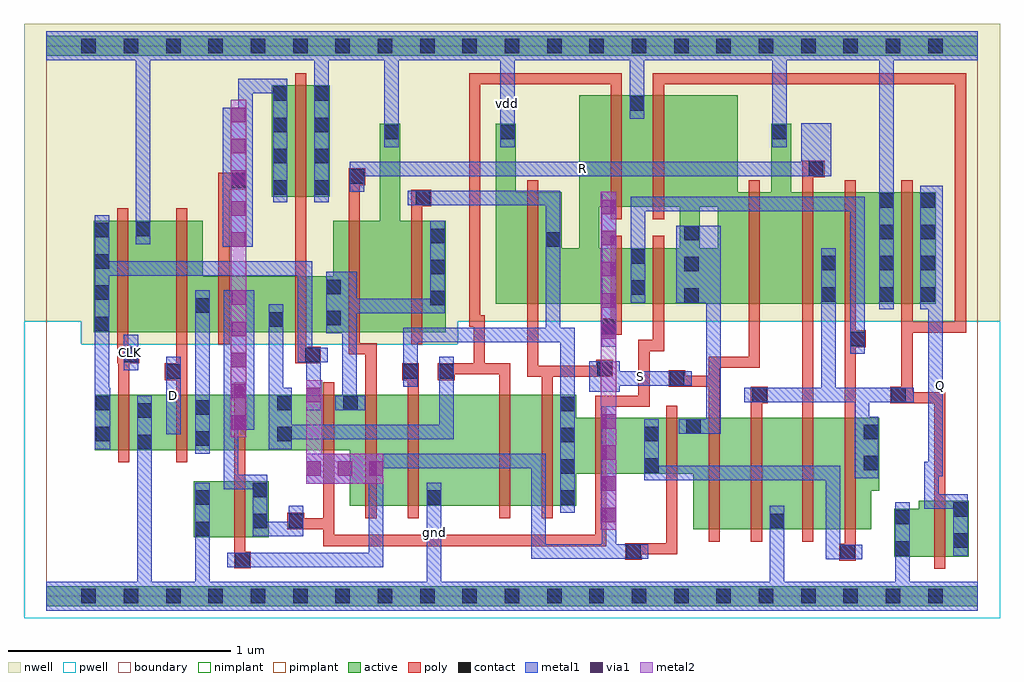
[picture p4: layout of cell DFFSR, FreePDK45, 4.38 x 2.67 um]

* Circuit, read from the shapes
.subckt DFFSR CLK D Q R S gnd vdd
M1 gnd CLK n1 gnd nfet w=0.25u l=0.05u
M2 n2 D gnd gnd nfet w=0.25u l=0.05u
M3 n3 n1 gnd gnd nfet w=0.25u l=0.05u
M4 n4 n1 n2 gnd nfet w=0.25u l=0.05u
M5 n5 n3 n4 gnd nfet w=0.25u l=0.05u
M6 n6 R n5 gnd nfet w=0.5u l=0.05u
M7 gnd n7 n6 gnd nfet w=0.5u l=0.05u
M8 n8 n4 gnd gnd nfet w=0.5u l=0.05u
M9 n7 S n8 gnd nfet w=0.5u l=0.05u
M10 n9 n3 n7 gnd nfet w=0.25u l=0.05u
M11 n10 n1 n9 gnd nfet w=0.25u l=0.05u
M12 n11 S n10 gnd nfet w=0.5u l=0.05u
M13 gnd n12 n11 gnd nfet w=0.5u l=0.05u
M14 n13 R gnd gnd nfet w=0.5u l=0.05u
M15 n12 n9 n13 gnd nfet w=0.5u l=0.05u
M16 Q n12 gnd gnd nfet w=0.25u l=0.05u
M17 vdd CLK n1 vdd pfet w=0.5u l=0.05u
M18 n2 D vdd vdd pfet w=0.5u l=0.05u
M19 n4 n3 n2 vdd pfet w=0.25u l=0.05u
M20 n5 n1 n4 vdd pfet w=0.25u l=0.05u
M21 vdd n1 n3 vdd pfet w=0.5u l=0.05u
M22 vdd R n5 vdd pfet w=0.5u l=0.05u
M23 n5 n7 vdd vdd pfet w=0.5u l=0.05u
M24 n7 S vdd vdd pfet w=0.5u l=0.05u
M25 n9 n1 n7 vdd pfet w=0.25u l=0.05u
M26 vdd n4 n7 vdd pfet w=0.5u l=0.05u
M27 n10 n3 n9 vdd pfet w=0.25u l=0.05u
M28 n10 n12 vdd vdd pfet w=0.5u l=0.05u
M29 vdd S n10 vdd pfet w=0.5u l=0.05u
M30 n12 R vdd vdd pfet w=0.5u l=0.05u
M31 vdd n9 n12 vdd pfet w=0.5u l=0.05u
M32 Q n12 vdd vdd pfet w=0.5u l=0.05u
.ends

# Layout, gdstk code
import gdstk
lib = gdstk.Library(unit=1e-6, precision=5e-10)
def R(c, l, rs):  # rectangles x0, y0, x1, y1
    for r in rs: c.add(gdstk.rectangle(r[:2], r[2:], *l))
def A(c, l, x, y, w, h, nx, ny, dx, dy):  # array of equal rectangles
    R(c, l, [(x+i*dx, y+j*dy, x+i*dx+w, y+j*dy+h) for i in range(nx) for j in range(ny)])
def P(c, l, *ps):  # polygons
    for p in ps: c.add(gdstk.Polygon(p, *l))
active = (1, 0)
pwell = (2, 0)
nwell = (3, 0)
nimplant = (4, 0)
pimplant = (5, 0)
poly = (9, 0)
contact = (10, 0)
metal1 = (11, 0)
via1 = (12, 0)
metal2 = (13, 0)
boundary = (235, 0)

dffsr = lib.new_cell('DFFSR')
A(dffsr, active, 0.3225, 0.655, 0.05, 0.25, 3, 1, 0.26, 0)
R(dffsr, active, [(0,-0.045,4.18,0.045), (3.985,0.1775,4.035,0.4275), (4.035,0.1775,4.14,0.4275), (0.6625,0.265,0.8425,0.515), (0.8425,0.265,0.8925,0.515), (0.8925,0.265,0.9975,0.515), (2.9725,0.3,3.0225,0.8), (3.0225,0.3,3.1625,0.8), (3.1625,0.3,3.2125,0.8), (3.2125,0.3,3.3925,0.8), (3.3925,0.3,3.4425,0.8), (3.4425,0.3,3.5825,0.8), (3.5825,0.3,3.6325,0.8), (1.4325,0.405,1.4825,0.905), (1.4825,0.405,1.6225,0.905), (1.6225,0.405,1.6725,0.905), (1.6725,0.405,2.0325,0.905), (2.0325,0.405,2.0825,0.905), (2.0825,0.405,2.2225,0.905), (2.2225,0.405,2.2725,0.905), (2.4625,0.55,2.5125,0.8), (2.5125,0.55,2.7825,0.8), (2.7825,0.55,2.8325,0.8), (0.2175,0.655,0.3225,0.905), (0.3725,0.655,0.5825,0.905), (0.6325,0.655,0.8425,0.905), (0.8925,0.655,1.2425,0.905), (1.2425,0.655,1.2925,0.905), (0.2125,1.185,0.3175,1.685), (0.3175,1.185,0.3675,1.685), (0.3675,1.185,0.5825,1.685), (0.5825,1.185,0.6325,1.685), (0.7725,1.185,0.8225,1.435), (0.8225,1.185,1.1175,1.435), (1.1175,1.185,1.1675,1.435), (1.3575,1.185,1.4075,1.685), (1.6375,1.185,1.6875,1.685), (1.6875,1.185,1.7925,1.685), (2.1575,1.3125,2.2075,1.8125), (2.5325,1.3125,2.5825,1.5625), (2.5825,1.3125,2.7225,1.5625), (2.7225,1.3125,2.7725,1.5625), (3.1525,1.3125,3.2025,1.8125), (3.3925,1.3125,3.4425,1.8125), (3.4425,1.3125,3.5825,1.8125), (3.5825,1.3125,3.6325,1.8125), (3.6325,1.3125,3.8375,1.8125), (3.8375,1.3125,3.8875,1.8125), (3.8875,1.3125,3.9925,1.8125), (2.5325,1.7475,2.5825,2.2475), (2.5825,1.7475,2.7225,2.2475), (2.7225,1.7475,2.7725,2.2475), (1.0125,1.7925,1.1175,2.2925), (1.1175,1.7925,1.1675,2.2925), (1.1675,1.7925,1.2725,2.2925), (0,2.425,4.18,2.515)])
P(dffsr, active, [(3.2025,1.3125),(3.2025,1.8125),(3.2525,1.8125),(3.2525,2.12),(3.3425,2.12),(3.3425,1.8125),(3.3925,1.8125),(3.3925,1.3125)],
  [(3.0125,1.3125),(2.7725,1.3125),(2.7725,1.5625),(2.8425,1.5625),(2.8425,1.7475),(2.7725,1.7475),(2.7725,2.2475),(3.1025,2.2475),(3.1025,1.8125),(3.1525,1.8125),(3.1525,1.3125),(3.0125,1.3125),(3.0125,1.7475),(2.9325,1.7475),(2.9325,1.5625),(3.0125,1.5625)],
  [(2.1075,2.12),(2.1075,1.8125),(2.1575,1.8125),(2.1575,1.3125),(2.0175,1.3125),(2.0175,2.12)],
  [(2.3125,1.5625),(2.3925,1.5625),(2.3925,2.2475),(2.5325,2.2475),(2.5325,1.7475),(2.4825,1.7475),(2.4825,1.5625),(2.5325,1.5625),(2.5325,1.3125),(2.2075,1.3125),(2.2075,1.8125),(2.3125,1.8125)],
  [(1.4075,1.185),(1.4075,1.685),(1.4975,1.685),(1.4975,2.12),(1.5875,2.12),(1.5875,1.685),(1.6375,1.685),(1.6375,1.185)],
  [(1.2875,1.435),(1.2875,1.685),(1.3575,1.685),(1.3575,1.185),(1.1675,1.185),(1.1675,1.435)],
  [(0.7025,1.685),(0.7025,1.435),(0.7725,1.435),(0.7725,1.185),(0.6325,1.185),(0.6325,1.685)],
  [(3.805,0.1775),(3.805,0.3925),(3.915,0.3925),(3.915,0.4275),(3.985,0.4275),(3.985,0.1775)],
  [(3.7375,0.8),(3.7375,0.4725),(3.7025,0.4725),(3.7025,0.3),(3.6325,0.3),(3.6325,0.8)],
  [(2.9725,0.8),(2.9725,0.3),(2.9025,0.3),(2.9025,0.55),(2.8325,0.55),(2.8325,0.8)],
  [(2.3775,0.8),(2.4625,0.8),(2.4625,0.55),(2.3775,0.55),(2.3775,0.405),(2.2725,0.405),(2.2725,0.905),(2.3775,0.905)],
  [(1.4325,0.905),(1.4325,0.405),(1.3625,0.405),(1.3625,0.655),(1.2925,0.655),(1.2925,0.905)])
P(dffsr, pwell, [(-0.1,1.235),(0.1575,1.235),(0.1575,1.13),(1.8475,1.13),(1.8475,1.235),(4.28,1.235),(4.28,-0.1),(-0.1,-0.1)])
P(dffsr, nwell, [(0.1575,1.235),(-0.1,1.235),(-0.1,2.57),(4.28,2.57),(4.28,1.235),(1.8475,1.235),(1.8475,1.13),(0.1575,1.13)])
A(dffsr, nimplant, 0.3225, 0.655, 0.05, 0.25, 3, 1, 0.26, 0)
R(dffsr, nimplant, [(3.985,0.1775,4.035,0.4275), (4.035,0.1775,4.14,0.4275), (0.6625,0.265,0.8425,0.515), (0.8425,0.265,0.8925,0.515), (0.8925,0.265,0.9975,0.515), (2.9725,0.3,3.0225,0.8), (3.0225,0.3,3.1625,0.8), (3.1625,0.3,3.2125,0.8), (3.2125,0.3,3.3925,0.8), (3.3925,0.3,3.4425,0.8), (3.4425,0.3,3.5825,0.8), (3.5825,0.3,3.6325,0.8), (1.4325,0.405,1.4825,0.905), (1.4825,0.405,1.6225,0.905), (1.6225,0.405,1.6725,0.905), (1.6725,0.405,2.0325,0.905), (2.0325,0.405,2.0825,0.905), (2.0825,0.405,2.2225,0.905), (2.2225,0.405,2.2725,0.905), (2.4625,0.55,2.5125,0.8), (2.5125,0.55,2.7825,0.8), (2.7825,0.55,2.8325,0.8), (0.2175,0.655,0.3225,0.905), (0.3725,0.655,0.5825,0.905), (0.6325,0.655,0.8425,0.905), (0.8925,0.655,1.2425,0.905), (1.2425,0.655,1.2925,0.905), (0,2.425,4.18,2.515)])
P(dffsr, nimplant, [(3.805,0.1775),(3.805,0.3925),(3.915,0.3925),(3.915,0.4275),(3.985,0.4275),(3.985,0.1775)],
  [(3.7375,0.8),(3.7375,0.4725),(3.7025,0.4725),(3.7025,0.3),(3.6325,0.3),(3.6325,0.8)],
  [(2.9725,0.8),(2.9725,0.3),(2.9025,0.3),(2.9025,0.55),(2.8325,0.55),(2.8325,0.8)],
  [(2.3775,0.8),(2.4625,0.8),(2.4625,0.55),(2.3775,0.55),(2.3775,0.405),(2.2725,0.405),(2.2725,0.905),(2.3775,0.905)],
  [(1.4325,0.905),(1.4325,0.405),(1.3625,0.405),(1.3625,0.655),(1.2925,0.655),(1.2925,0.905)])
R(dffsr, pimplant, [(0,-0.045,4.18,0.045), (0.2125,1.185,0.3175,1.685), (0.3175,1.185,0.3675,1.685), (0.3675,1.185,0.5825,1.685), (0.5825,1.185,0.6325,1.685), (0.7725,1.185,0.8225,1.435), (0.8225,1.185,1.1175,1.435), (1.1175,1.185,1.1675,1.435), (1.3575,1.185,1.4075,1.685), (1.6375,1.185,1.6875,1.685), (1.6875,1.185,1.7925,1.685), (2.1575,1.3125,2.2075,1.8125), (2.5325,1.3125,2.5825,1.5625), (2.5825,1.3125,2.7225,1.5625), (2.7225,1.3125,2.7725,1.5625), (3.1525,1.3125,3.2025,1.8125), (3.3925,1.3125,3.4425,1.8125), (3.4425,1.3125,3.5825,1.8125), (3.5825,1.3125,3.6325,1.8125), (3.6325,1.3125,3.8375,1.8125), (3.8375,1.3125,3.8875,1.8125), (3.8875,1.3125,3.9925,1.8125), (2.5325,1.7475,2.5825,2.2475), (2.5825,1.7475,2.7225,2.2475), (2.7225,1.7475,2.7725,2.2475), (1.0125,1.7925,1.1175,2.2925), (1.1175,1.7925,1.1675,2.2925), (1.1675,1.7925,1.2725,2.2925)])
P(dffsr, pimplant, [(3.2025,1.3125),(3.2025,1.8125),(3.2525,1.8125),(3.2525,2.12),(3.3425,2.12),(3.3425,1.8125),(3.3925,1.8125),(3.3925,1.3125)],
  [(3.0125,1.3125),(2.7725,1.3125),(2.7725,1.5625),(2.8425,1.5625),(2.8425,1.7475),(2.7725,1.7475),(2.7725,2.2475),(3.1025,2.2475),(3.1025,1.8125),(3.1525,1.8125),(3.1525,1.3125),(3.0125,1.3125),(3.0125,1.7475),(2.9325,1.7475),(2.9325,1.5625),(3.0125,1.5625)],
  [(2.1075,2.12),(2.1075,1.8125),(2.1575,1.8125),(2.1575,1.3125),(2.0175,1.3125),(2.0175,2.12)],
  [(2.3125,1.5625),(2.3925,1.5625),(2.3925,2.2475),(2.5325,2.2475),(2.5325,1.7475),(2.4825,1.7475),(2.4825,1.5625),(2.5325,1.5625),(2.5325,1.3125),(2.2075,1.3125),(2.2075,1.8125),(2.3125,1.8125)],
  [(1.4075,1.185),(1.4075,1.685),(1.4975,1.685),(1.4975,2.12),(1.5875,2.12),(1.5875,1.685),(1.6375,1.685),(1.6375,1.185)],
  [(1.2875,1.435),(1.2875,1.685),(1.3575,1.685),(1.3575,1.185),(1.1675,1.185),(1.1675,1.435)],
  [(0.7025,1.685),(0.7025,1.435),(0.7725,1.435),(0.7725,1.185),(0.6325,1.185),(0.6325,1.685)])
A(dffsr, poly, 0.3225, 0.655, 0.05, 0.25, 3, 1, 0.26, 0)
R(dffsr, poly, [(3.985,0.1225,4.035,0.1775), (3.985,0.1775,4.035,0.4275), (2.9725,0.245,3.0225,0.3), (3.1625,0.245,3.2125,0.3), (3.3925,0.245,3.4425,0.3), (0.8425,0.265,0.8925,0.515), (2.9725,0.3,3.0225,0.8), (3.1625,0.3,3.2125,0.8), (3.3925,0.3,3.4425,0.8), (3.5825,0.3,3.6325,0.8), (1.4325,0.35,1.4825,0.405), (1.6225,0.35,1.6725,0.405), (2.0325,0.35,2.0825,0.405), (2.2225,0.35,2.2725,0.405), (1.4325,0.405,1.4825,0.905), (1.6225,0.405,1.6725,0.905), (2.0325,0.405,2.0825,0.905), (2.2225,0.405,2.2725,0.905), (0.8425,0.515,0.8925,0.655), (2.4625,0.55,2.5125,0.8), (2.7825,0.55,2.8325,0.8), (0.3225,0.6,0.3725,0.655), (0.5825,0.6,0.6325,0.655), (1.2425,0.655,1.2925,0.905), (2.7825,0.8,2.8325,0.855), (3.3925,0.8,3.4425,1.3125), (0.8425,0.905,0.8925,0.96), (1.2425,0.905,1.2925,0.96), (0.7725,1.13,0.8225,1.185), (1.6375,1.13,1.6875,1.185), (0.3175,1.185,0.3675,1.685), (0.5825,1.185,0.6325,1.685), (0.7725,1.185,0.8225,1.435), (1.1175,1.185,1.1675,1.435), (1.3575,1.185,1.4075,1.685), (1.6375,1.185,1.6875,1.685), (2.1575,1.3125,2.2075,1.8125), (2.5325,1.3125,2.5825,1.5625), (2.7225,1.3125,2.7725,1.5625), (3.1525,1.3125,3.2025,1.8125), (3.3925,1.3125,3.4425,1.8125), (3.5825,1.3125,3.6325,1.8125), (3.8375,1.3125,3.8875,1.8125), (1.1175,1.435,1.1675,1.7925), (2.5325,1.5625,2.5825,1.6175), (2.7225,1.5625,2.7725,1.6175), (0.3175,1.685,0.3675,1.74), (0.5825,1.685,0.6325,1.74), (2.5325,1.6925,2.5825,1.7475), (2.7225,1.6925,2.7725,1.7475), (2.5325,1.7475,2.5825,2.2475), (2.7225,1.7475,2.7725,2.2475), (1.1175,1.7925,1.1675,2.2925), (2.1575,1.8125,2.2075,1.8675), (3.1525,1.8125,3.2025,1.8675), (3.5825,1.8125,3.6325,1.8675), (3.8375,1.8125,3.8875,1.8675), (1.1175,2.2925,1.1675,2.3475)])
P(dffsr, poly, [(3.5825,0.235),(3.5825,0.3),(3.6325,0.3),(3.6325,0.16),(3.5575,0.16),(3.5575,0.235)],
  [(3.5825,1.3125),(3.6325,1.3125),(3.6325,1.1925),(3.6775,1.1925),(3.6775,1.1175),(3.6325,1.1175),(3.6325,0.8),(3.5825,0.8)],
  [(3.3925,1.955),(3.4925,1.955),(3.4925,1.88),(3.4425,1.88),(3.4425,1.8125),(3.3925,1.8125)],
  [(3.1625,0.94),(3.2375,0.94),(3.2375,0.865),(3.2125,0.865),(3.2125,0.8),(3.1625,0.8)],
  [(2.9725,0.94),(2.7925,0.94),(2.7925,1.015),(2.8675,1.015),(2.8675,0.99),(2.9725,0.99),(2.9725,1.075),(3.1525,1.075),(3.1525,1.3125),(3.2025,1.3125),(3.2025,1.025),(3.0225,1.025),(3.0225,0.8),(2.9725,0.8)],
  [(2.7225,2.3475),(4.1275,2.3475),(4.1275,1.1825),(3.8875,1.1825),(3.8875,0.915),(4.035,0.915),(4.035,0.4275),(3.985,0.4275),(3.985,0.865),(3.7875,0.865),(3.7875,0.94),(3.8375,0.94),(3.8375,1.3125),(3.8875,1.3125),(3.8875,1.2325),(4.0775,1.2325),(4.0775,2.2975),(2.7725,2.2975),(2.7725,2.2475),(2.7225,2.2475)],
  [(2.7825,0.2375),(2.7825,0.55),(2.8325,0.55),(2.8325,0.1875),(2.6725,0.1875),(2.6725,0.1625),(2.5975,0.1625),(2.5975,0.2375)],
  [(2.5325,1.2475),(2.5325,1.3125),(2.5825,1.3125),(2.5825,1.1725),(2.4875,1.1725),(2.4875,1.2475)],
  [(2.4625,0.9),(2.6575,0.9),(2.6575,1.15),(2.7225,1.15),(2.7225,1.3125),(2.7725,1.3125),(2.7725,1.1),(2.7075,1.1),(2.7075,0.85),(2.5125,0.85),(2.5125,0.8),(2.4625,0.8)],
  [(2.2225,0.985),(2.1575,0.985),(2.1575,1.3125),(2.2075,1.3125),(2.2075,1.035),(2.4675,1.035),(2.4675,1.06),(2.5425,1.06),(2.5425,0.985),(2.2725,0.985),(2.2725,0.905),(2.2225,0.905)],
  [(2.0325,0.995),(1.8325,0.995),(1.8325,0.97),(1.7575,0.97),(1.7575,1.045),(1.9175,1.045),(1.9175,1.21),(1.8975,1.21),(1.8975,2.3475),(2.5825,2.3475),(2.5825,2.2475),(2.5325,2.2475),(2.5325,2.2975),(1.9475,2.2975),(1.9475,1.26),(1.9675,1.26),(1.9675,1.045),(2.0825,1.045),(2.0825,0.905),(2.0325,0.905)],
  [(1.6375,1.825),(1.7275,1.825),(1.7275,1.75),(1.6875,1.75),(1.6875,1.685),(1.6375,1.685)],
  [(1.6225,0.97),(1.5975,0.97),(1.5975,1.045),(1.6725,1.045),(1.6725,0.905),(1.6225,0.905)],
  [(1.3575,1.92),(1.4325,1.92),(1.4325,1.845),(1.4075,1.845),(1.4075,1.685),(1.3575,1.685)],
  [(1.4325,1.085),(1.3575,1.085),(1.3575,1.185),(1.4075,1.185),(1.4075,1.135),(1.4825,1.135),(1.4825,0.905),(1.4325,0.905)],
  [(1.1675,1.12),(1.2325,1.12),(1.2325,1.045),(1.1175,1.045),(1.1175,1.185),(1.1675,1.185)],
  [(1.2425,0.35),(1.2425,0.655),(1.2925,0.655),(1.2925,0.275),(2.4625,0.275),(2.4625,0.55),(2.5125,0.55),(2.5125,0.225),(1.2425,0.225),(1.2425,0.3),(1.0825,0.3),(1.0825,0.375),(1.1575,0.375),(1.1575,0.35)],
  [(0.7725,1.9),(0.8975,1.9),(0.8975,1.825),(0.8225,1.825),(0.8225,1.435),(0.7725,1.435)],
  [(0.8925,0.2),(0.9175,0.2),(0.9175,0.125),(0.8425,0.125),(0.8425,0.265),(0.8925,0.265)],
  [(0.5825,0.97),(0.5325,0.97),(0.5325,1.045),(0.5825,1.045),(0.5825,1.185),(0.6325,1.185),(0.6325,0.905),(0.5825,0.905)],
  [(0.3225,1.045),(0.3175,1.045),(0.3175,1.185),(0.3675,1.185),(0.3675,1.12),(0.4175,1.12),(0.4175,1.045),(0.3725,1.045),(0.3725,0.905),(0.3225,0.905)])
A(dffsr, contact, 0.1575, -0.0325, 0.065, 0.065, 21, 2, 0.19, 2.47)
A(dffsr, contact, 2.3075, 0.41, 0.065, 0.065, 1, 4, 0, 0.14)
A(dffsr, contact, 0.2175, 1.19, 0.065, 0.065, 1, 4, 0, 0.14)
A(dffsr, contact, 1.7225, 1.305, 0.065, 0.065, 1, 3, 0, 0.14)
A(dffsr, contact, 2.8625, 1.3175, 0.065, 0.065, 1, 3, 0, 0.14)
A(dffsr, contact, 3.7375, 1.3225, 0.065, 0.065, 1, 4, 0, 0.14)
A(dffsr, contact, 3.9225, 1.3225, 0.065, 0.065, 1, 4, 0, 0.14)
A(dffsr, contact, 1.0175, 1.8025, 0.065, 0.065, 1, 4, 0, 0.14)
A(dffsr, contact, 1.2025, 1.8025, 0.065, 0.065, 1, 4, 0, 0.14)
R(dffsr, contact, [(0.8475,0.13,0.9125,0.195), (3.5625,0.165,3.6275,0.23), (2.6025,0.1675,2.6675,0.2325), (3.81,0.1825,3.875,0.2475), (4.07,0.2175,4.135,0.2825), (0.6675,0.27,0.7325,0.335), (0.9275,0.305,0.9925,0.37), (1.0875,0.305,1.1525,0.37), (3.2475,0.305,3.3125,0.37), (3.81,0.3225,3.875,0.3875), (4.07,0.3575,4.135,0.4225), (0.6675,0.41,0.7325,0.475), (1.7075,0.41,1.7725,0.475), (0.9275,0.445,0.9925,0.51), (2.6825,0.555,2.7475,0.62), (3.6675,0.565,3.7325,0.63), (0.4075,0.66,0.4725,0.725), (0.6675,0.675,0.7325,0.74), (0.2225,0.695,0.2875,0.76), (1.0375,0.695,1.1025,0.76), (2.6825,0.695,2.7475,0.76), (3.6675,0.705,3.7325,0.77), (2.8725,0.73,2.9375,0.795), (0.4075,0.8,0.4725,0.865), (0.6675,0.815,0.7325,0.88), (0.2225,0.835,0.2875,0.9), (1.0375,0.835,1.1025,0.9), (1.3325,0.835,1.3975,0.9), (3.1675,0.87,3.2325,0.935), (3.7925,0.87,3.8575,0.935), (2.7975,0.945,2.8625,1.01), (0.5375,0.975,0.6025,1.04), (1.6025,0.975,1.6675,1.04), (1.7625,0.975,1.8275,1.04), (2.4725,0.99,2.5375,1.055), (0.3475,1.05,0.4125,1.115), (1.1625,1.05,1.2275,1.115), (3.6075,1.1225,3.6725,1.1875), (2.4925,1.1775,2.5575,1.2425), (0.9975,1.21,1.0625,1.275), (1.2575,1.215,1.3225,1.28), (0.6675,1.2725,0.7325,1.3375), (3.4775,1.3225,3.5425,1.3875), (2.6225,1.3525,2.6875,1.4175), (1.2575,1.355,1.3225,1.42), (3.4775,1.4625,3.5425,1.5275), (2.6225,1.4925,2.6875,1.5575), (2.2425,1.5675,2.3075,1.6325), (0.4025,1.615,0.4675,1.68), (1.6575,1.755,1.7225,1.82), (0.8275,1.83,0.8925,1.895), (1.3625,1.85,1.4275,1.915), (3.4225,1.885,3.4875,1.95), (1.5175,2.05,1.5825,2.115), (2.0375,2.05,2.1025,2.115), (3.2575,2.05,3.3225,2.115), (2.6175,2.1775,2.6825,2.2425)])
R(dffsr, metal1, [(0.6675,0.64,0.7325,1.3725), (0.5375,0.7275,0.6025,1.075), (0.3475,1.015,0.4125,1.1725), (2.4925,1.12,2.5575,1.815)])
P(dffsr, metal1, [(2.8275,1.3175),(2.8275,1.6625),(3.0275,1.6625),(3.0275,0.73),(2.8375,0.73),(2.8375,0.795),(2.9625,0.795),(2.9625,1.3175)],
  [(1.2575,1.18),(1.2575,1.455),(1.3925,1.455),(1.3925,1.335),(1.7225,1.335),(1.7225,1.685),(1.7875,1.685),(1.7875,1.27),(1.3925,1.27),(1.3925,0.9),(1.4325,0.9),(1.4325,0.835),(1.2975,0.835),(1.2975,0.9),(1.3275,0.9),(1.3275,1.18)],
  [(4.005,0.5375),(4.005,0.4575),(4.135,0.4575),(4.135,0.1825),(4.07,0.1825),(4.07,0.3925),(3.94,0.3925),(3.94,0.6025),(3.9575,0.6025),(3.9575,1.2875),(3.9225,1.2875),(3.9225,1.8425),(4.0225,1.8425),(4.0225,0.5375)],
  [(3.4775,0.935),(3.4775,1.5625),(3.5425,1.5625),(3.5425,0.935),(3.8925,0.935),(3.8925,0.87),(3.6925,0.87),(3.6925,0.805),(3.7325,0.805),(3.7325,0.53),(3.6275,0.53),(3.6275,0.87),(3.1325,0.87),(3.1325,0.935)],
  [(3.6075,1.7275),(2.6875,1.7275),(2.6875,1.3175),(2.6225,1.3175),(2.6225,1.7925),(3.6725,1.7925),(3.6725,1.0875),(3.6075,1.0875)],
  [(3.4975,0.52),(2.6825,0.52),(2.6825,0.795),(2.7475,0.795),(2.7475,0.585),(3.5625,0.585),(3.5625,0.23),(3.6625,0.23),(3.6625,0.165),(3.4975,0.165)],
  [(0.7925,1.5675),(0.7925,2.1925),(0.8625,2.1925),(0.8625,2.3225),(1.0825,2.3225),(1.0825,1.7675),(1.0175,1.7675),(1.0175,2.2575),(0.9275,2.2575),(0.9275,1.5675)],
  [(0.9925,0.335),(1.0875,0.335),(1.0875,0.405),(1.1525,0.405),(1.1525,0.27),(0.9275,0.27),(0.9275,0.48),(0.7975,0.48),(0.7975,1.3725),(0.9325,1.3725),(0.9325,0.7475),(0.8625,0.7475),(0.8625,0.545),(0.9925,0.545)],
  [(1.1275,1.4375),(0.2825,1.4375),(0.2825,0.935),(0.2875,0.935),(0.2875,0.66),(0.2175,0.66),(0.2175,1.71),(0.2825,1.71),(0.2825,1.5025),(1.1925,1.5025),(1.1925,1.115),(1.2625,1.115),(1.2625,1.05),(1.2325,1.05),(1.2325,0.835),(1.1675,0.835),(1.1675,1.05),(1.1275,1.05)],
  [(2.4925,0.2325),(2.4925,0.8525),(2.5575,0.8525),(2.5575,0.2325),(2.7025,0.2325),(2.7025,0.1675),(2.1775,0.1675),(2.1775,0.575),(1.5125,0.575),(1.5125,0.13),(0.8125,0.13),(0.8125,0.195),(1.4475,0.195),(1.4475,0.505),(1.1675,0.505),(1.1675,0.64),(2.2425,0.64),(2.2425,0.2325)],
  [(2.4375,0.9175),(2.4375,1.055),(2.5725,1.055),(2.5725,1.01),(2.8975,1.01),(2.8975,0.945),(2.5725,0.945),(2.5725,0.9175)],
  [(1.7625,0.77),(1.7625,1.075),(1.8275,1.075),(1.8275,0.705),(1.1025,0.705),(1.1025,0.66),(0.9975,0.66),(0.9975,1.31),(1.0625,1.31),(1.0625,0.935),(1.1025,0.935),(1.1025,0.77)],
  [(2.3075,1.82),(2.3075,1.205),(2.3725,1.205),(2.3725,0.375),(2.3075,0.375),(2.3075,1.14),(1.6675,1.14),(1.6675,0.94),(1.6025,0.94),(1.6025,1.205),(2.2425,1.205),(2.2425,1.755),(1.6225,1.755),(1.6225,1.82)],
  [(3.3875,1.95),(3.3875,2.1225),(3.5225,2.1225),(3.5225,1.885),(1.4275,1.885),(1.4275,1.815),(1.3625,1.815),(1.3625,1.95)],
  [(0,-0.065),(0,0.065),(0.4075,0.065),(0.4075,0.9),(0.4725,0.9),(0.4725,0.065),(0.6675,0.065),(0.6675,0.51),(0.7325,0.51),(0.7325,0.065),(1.7075,0.065),(1.7075,0.51),(1.7725,0.51),(1.7725,0.065),(3.2475,0.065),(3.2475,0.405),(3.3125,0.405),(3.3125,0.065),(3.81,0.065),(3.81,0.4225),(3.875,0.4225),(3.875,0.065),(4.18,0.065),(4.18,-0.065)],
  [(0,2.405),(0,2.535),(4.18,2.535),(4.18,2.405),(3.8025,2.405),(3.8025,1.2875),(3.7375,1.2875),(3.7375,2.405),(3.3225,2.405),(3.3225,2.015),(3.2575,2.015),(3.2575,2.405),(2.6825,2.405),(2.6825,2.1425),(2.6175,2.1425),(2.6175,2.405),(2.1025,2.405),(2.1025,2.015),(2.0375,2.015),(2.0375,2.405),(1.5825,2.405),(1.5825,2.015),(1.5175,2.015),(1.5175,2.405),(1.2675,2.405),(1.2675,1.7675),(1.2025,1.7675),(1.2025,2.405),(0.4675,2.405),(0.4675,1.58),(0.4025,1.58),(0.4025,2.405)])
A(dffsr, via1, 2.4925, 0.3325, 0.065, 0.065, 1, 4, 0, 0.14)
A(dffsr, via1, 1.1675, 0.54, 0.065, 0.065, 3, 1, 0.14, 0)
A(dffsr, via1, 0.8325, 0.7475, 0.065, 0.065, 1, 5, 0, 0.14)
A(dffsr, via1, 2.4925, 1.155, 0.065, 0.065, 1, 5, 0, 0.14)
A(dffsr, via1, 0.8275, 1.5675, 0.065, 0.065, 1, 5, 0, 0.14)
R(dffsr, via1, [(1.1675,0.87,1.2325,0.935)])
R(dffsr, metal2, [(2.4875,0.2975,2.5575,1.815), (0.8275,0.7125,0.8975,2.2275)])
P(dffsr, metal2, [(1.1675,0.97),(1.2375,0.97),(1.2375,0.64),(1.5125,0.64),(1.5125,0.505),(1.1675,0.505)])
R(dffsr, boundary, [(0,0,4.18,2.47)])
dffsr.add(gdstk.Label('Q', (4.015,0.945), layer=11, texttype=237))
dffsr.add(gdstk.Label('CLK', (0.38,1.095), layer=11, texttype=237))
dffsr.add(gdstk.Label('D', (0.57,0.9), layer=11, texttype=237))
dffsr.add(gdstk.Label('S', (2.6675,0.985), layer=11, texttype=237))
dffsr.add(gdstk.Label('R', (2.4075,1.9175), layer=11, texttype=237))
dffsr.add(gdstk.Label('gnd', (1.74,0.2875), layer=11, texttype=237))
dffsr.add(gdstk.Label('vdd', (2.07,2.21), layer=11, texttype=237))

lib.write_gds('DFFSR.gds')
